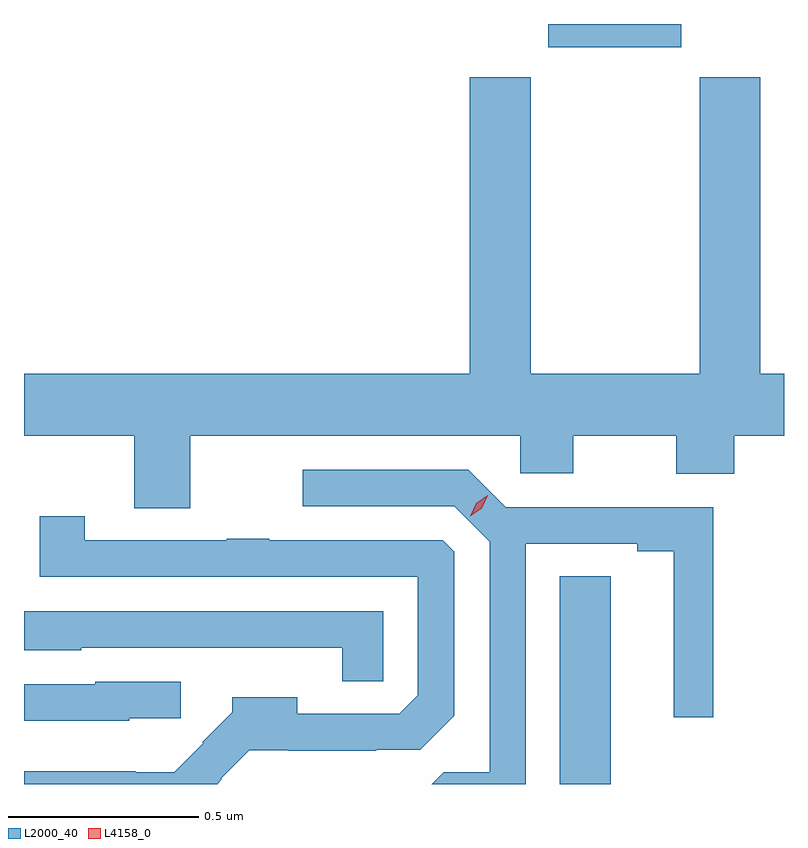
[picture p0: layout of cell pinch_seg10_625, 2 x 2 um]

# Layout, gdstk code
import gdstk
lib = gdstk.Library(unit=1e-6, precision=1e-09)
def R(c, l, rs):  # rectangles x0, y0, x1, y1
    for r in rs: c.add(gdstk.rectangle(r[:2], r[2:], *l))
def P(c, l, *ps):  # polygons
    for p in ps: c.add(gdstk.Polygon(p, *l))
L2000_40 = (2000, 40)
L4158_0 = (4158, 0)

pinch_seg10_625 = lib.new_cell('pinch_seg10_625')
R(pinch_seg10_625, L2000_40, [(307.028,1286.08,307.162,1286.627), (306.998,1288.019,307.348,1288.08)])
P(pinch_seg10_625, L2000_40, [(306.055,1286.996),(306.924,1286.996),(306.924,1286.898),(307.063,1286.898),(307.063,1286.996),(307.334,1286.996),(307.334,1286.897),(307.487,1286.897),(307.487,1286.996),(307.618,1286.996),(307.618,1287.16),(307.556,1287.16),(307.556,1287.94),(307.396,1287.94),(307.396,1287.16),(306.951,1287.16),(306.951,1287.94),(306.791,1287.94),(306.791,1287.16),(305.618,1287.16),(305.618,1286.996),(305.908,1286.996),(305.908,1286.806),(306.055,1286.806)],
  [(306.939,1286.712),(307.232,1286.712),(307.232,1286.692),(307.328,1286.692),(307.328,1286.256),(307.432,1286.256),(307.432,1286.808),(306.886,1286.808),(306.787,1286.907),(306.351,1286.907),(306.351,1286.811),(306.75,1286.811),(306.843,1286.718),(306.843,1286.111),(306.722,1286.111),(306.691,1286.08),(306.939,1286.08)],
  [(306.139,1286.093),(306.137,1286.095),(306.211,1286.169),(306.313,1286.169),(306.313,1286.168),(306.545,1286.168),(306.545,1286.17),(306.661,1286.17),(306.75,1286.259),(306.75,1286.691),(306.72,1286.721),(306.263,1286.721),(306.263,1286.726),(306.151,1286.726),(306.151,1286.721),(305.778,1286.721),(305.778,1286.785),(305.659,1286.785),(305.659,1286.625),(306.654,1286.625),(306.654,1286.313),(306.606,1286.265),(306.337,1286.265),(306.337,1286.308),(306.166,1286.308),(306.166,1286.269),(306.087,1286.19),(306.09,1286.187),(306.014,1286.111),(305.912,1286.111),(305.912,1286.113),(305.618,1286.113),(305.618,1286.08),(306.126,1286.08)],
  [(306.564,1286.535),(305.618,1286.535),(305.618,1286.432),(305.769,1286.432),(305.769,1286.439),(306.201,1286.439),(306.201,1286.438),(306.456,1286.438),(306.456,1286.35),(306.564,1286.35)],
  [(305.895,1286.253),(306.03,1286.253),(306.03,1286.349),(305.805,1286.349),(305.805,1286.343),(305.618,1286.343),(305.618,1286.246),(305.895,1286.246)])
P(pinch_seg10_625, L4158_0, [(306.792,1286.785),(306.792,1286.785),(306.808,1286.819),(306.839,1286.84),(306.839,1286.84),(306.839,1286.84),(306.823,1286.806),(306.792,1286.785)])

lib.write_gds('pinch_seg10_625.gds')
